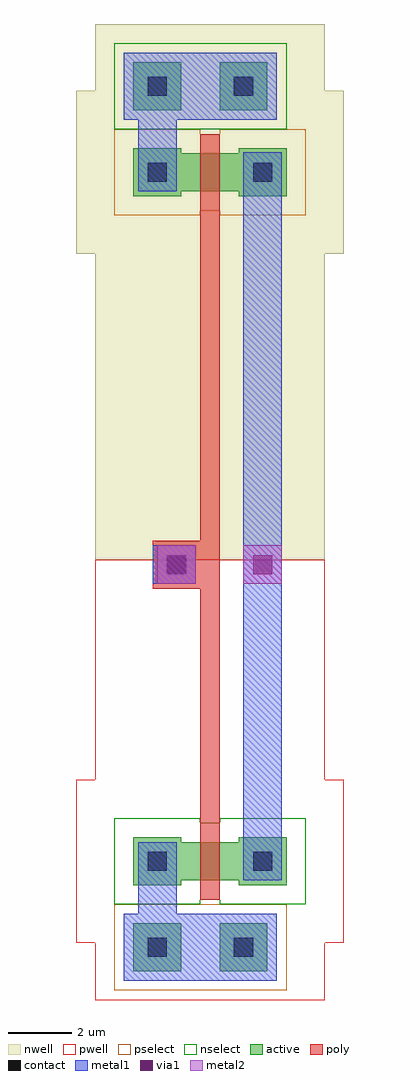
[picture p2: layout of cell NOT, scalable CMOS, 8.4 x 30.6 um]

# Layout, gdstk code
import gdstk
lib = gdstk.Library(unit=1e-6, precision=1e-09)
def R(c, l, rs):  # rectangles x0, y0, x1, y1
    for r in rs: c.add(gdstk.rectangle(r[:2], r[2:], *l))
contact = (25, 0)
pwell = (41, 0)
nwell = (42, 0)
active = (43, 0)
pselect = (44, 0)
nselect = (45, 0)
poly = (46, 0)
metal1 = (49, 0)
via1 = (50, 0)
metal2 = (51, 0)

not_ = lib.new_cell('NOT')
R(not_, contact, [(-13.5,-12.45,-12.9,-11.85), (-10.8,-12.45,-10.2,-11.85), (-13.5,-9.75,-12.9,-9.15), (-10.2,-9.75,-9.6,-9.15), (-12.9,-0.45,-12.3,0.15), (-13.5,11.85,-12.9,12.45), (-10.2,11.85,-9.6,12.45), (-13.5,14.55,-12.9,15.15), (-10.8,14.55,-10.2,15.15)])
R(not_, pwell, [(-15.15,-13.8,-7.95,0), (-14.85,-13.8,-11.55,-10.5), (-12.15,-13.8,-8.85,-10.5), (-15.75,-12,-10.65,-6.9), (-12.45,-12,-7.35,-6.9), (-14.55,-11.85,-8.55,-7.05), (-12.675,-11.808,-7.8,-7.308), (-15.3,-11.7,-10.425,-7.2), (-12.15,-11.7,-7.65,-7.05)])
R(not_, nwell, [(-15.15,0,-7.95,16.8), (-15.75,9.6,-10.65,14.7), (-12.45,9.6,-7.35,14.7), (-14.55,9.75,-8.55,14.55), (-15.3,9.93,-10.425,14.43), (-12.675,9.93,-7.8,14.43), (-14.85,13.2,-11.55,16.5), (-12.15,13.2,-8.85,16.5)])
R(not_, active, [(-13.95,-12.9,-12.45,-11.4), (-11.25,-12.9,-9.75,-11.4), (-13.95,-10.2,-12.45,-8.7), (-10.65,-10.2,-9.15,-8.7), (-12.75,-10.05,-10.35,-8.85), (-10.875,-10.008,-9.6,-9.108), (-13.5,-9.9,-12.225,-9), (-10.35,-9.9,-9.45,-8.85), (-13.95,11.4,-12.45,12.9), (-10.65,11.4,-9.15,12.9), (-12.75,11.55,-10.35,12.75), (-13.5,11.73,-12.225,12.63), (-10.875,11.73,-9.6,12.63), (-13.95,14.1,-12.45,15.6), (-11.25,14.1,-9.75,15.6)])
R(not_, pselect, [(-14.55,-13.5,-11.85,-10.8), (-11.85,-13.5,-9.15,-10.8), (-14.55,10.8,-11.85,13.5), (-11.25,10.8,-8.55,13.5), (-13.35,10.95,-9.75,13.35), (-14.1,11.13,-11.625,13.23), (-11.475,11.13,-9,13.23)])
R(not_, nselect, [(-14.55,-10.8,-11.85,-8.1), (-11.25,-10.8,-8.55,-8.1), (-13.35,-10.65,-9.75,-8.25), (-11.475,-10.608,-9,-8.508), (-14.1,-10.5,-11.625,-8.4), (-10.95,-10.5,-8.85,-8.25), (-14.55,13.5,-11.85,16.2), (-11.85,13.5,-9.15,16.2)])
R(not_, poly, [(-11.85,-10.65,-11.25,-8.25), (-11.85,-8.55,-11.25,0.15), (-13.35,-0.9,-11.85,0.6), (-12.75,-0.45,-11.25,0.15), (-11.85,-0.45,-11.25,11.25), (-11.85,10.95,-11.25,13.35)])
R(not_, metal1, [(-14.25,-13.2,-9.45,-11.1), (-13.8,-12.75,-12.6,-11.55), (-13.8,-12.75,-12.6,-8.85), (-11.1,-12.75,-9.9,-11.55), (-13.8,-10.05,-12.6,-8.85), (-10.5,-10.05,-9.3,-8.85), (-10.5,-10.05,-9.3,0.45), (-13.35,-0.75,-12.15,0.45), (-13.2,-0.75,-12,0.45), (-13.2,-0.75,-12,0.45), (-10.5,-0.75,-9.3,0.45), (-10.5,-0.75,-9.3,12.78), (-10.35,-0.6,-9.45,0.3), (-13.8,11.55,-12.6,12.75), (-13.8,11.55,-12.6,15.45), (-10.5,11.55,-9.3,12.75), (-14.25,13.8,-9.45,15.9), (-13.8,14.25,-12.6,15.45), (-13.8,14.25,-12.45,15.45), (-11.1,14.25,-9.9,15.45)])
R(not_, via1, [(-12.9,-0.45,-12.3,0.15), (-10.2,-0.45,-9.6,0.15)])
R(not_, metal2, [(-13.2,-0.75,-12,0.45), (-10.5,-0.75,-9.3,0.45)])

lib.write_gds('NOT.gds')
